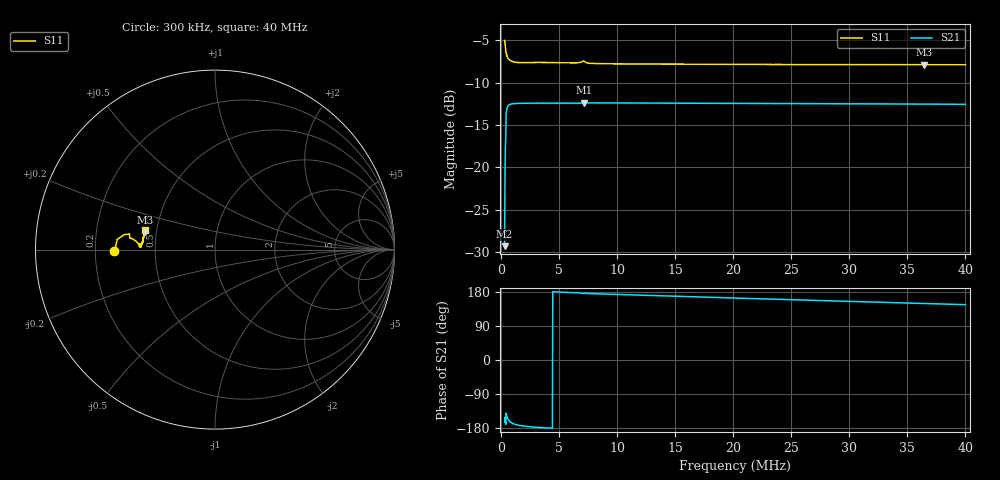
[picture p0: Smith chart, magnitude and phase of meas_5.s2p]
# HZ S RI R 50
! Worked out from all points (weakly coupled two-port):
!   1206 points, 300 kHz to 40 MHz, reference 50 ohm
!   highest |S21| = -12.37 dB at 7.12 MHz (marker M1); lowest = -29.3 dB at 300 kHz (marker M2)
!   lowest |S11| = -7.9 dB at 36.44 MHz (marker M3), VSWR 2.35, Z = 21.6 + j5.03 ohm
!   |S11| at or under -10 dB: nowhere
!   S12 and S22 are empty: the file has one direction only
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300000  -0.56 -0.0102  -0.0329 -0.0099  0 0  0 0
530622  -0.4457 0.0505  -0.1981 -0.1062  0 0  0 0
563568  -0.4416 0.0473  -0.2052 -0.0991  0 0  0 0
596514  -0.4378 0.0447  -0.2104 -0.093  0 0  0 0
629460  -0.4348 0.0417  -0.2144 -0.0873  0 0  0 0
695352  -0.4305 0.0378  -0.2205 -0.078  0 0  0 0
893028  -0.422 0.0297  -0.2292 -0.0586  0 0  0 0
1156596  -0.4171 0.0226  -0.2339 -0.0438  0 0  0 0
1519002  -0.415 0.0172  -0.2365 -0.032  0 0  0 0
2046138  -0.4146 0.0134  -0.238 -0.0218  0 0  0 0
3726384  -0.4151 0.0153  -0.2393 -0.00477  0 0  0 0
6329118  -0.4125 0.0205  -0.2389 0.0101  0 0  0 0
6922146  -0.4179 0.0163  -0.24 0.0163  0 0  0 0
7119822  -0.4225 0.0267  -0.2401 0.0174  0 0  0 0
7350444  -0.4129 0.0299  -0.2396 0.0186  0 0  0 0
7976418  -0.4088 0.0276  -0.239 0.0211  0 0  0 0
1.354429e7  -0.4044 0.0389  -0.2355 0.0438  0 0  0 0
2.016644e7  -0.401 0.0557  -0.2288 0.0683  0 0  0 0
2.678858e7  -0.3974 0.0732  -0.2197 0.0911  0 0  0 0
3.341073e7  -0.393 0.0902  -0.2085 0.1121  0 0  0 0
3.644176e7  -0.3905 0.0978  -0.2027 0.1212  0 0  0 0
3.999993e7  -0.3882 0.1073  -0.1953 0.1317  0 0  0 0
